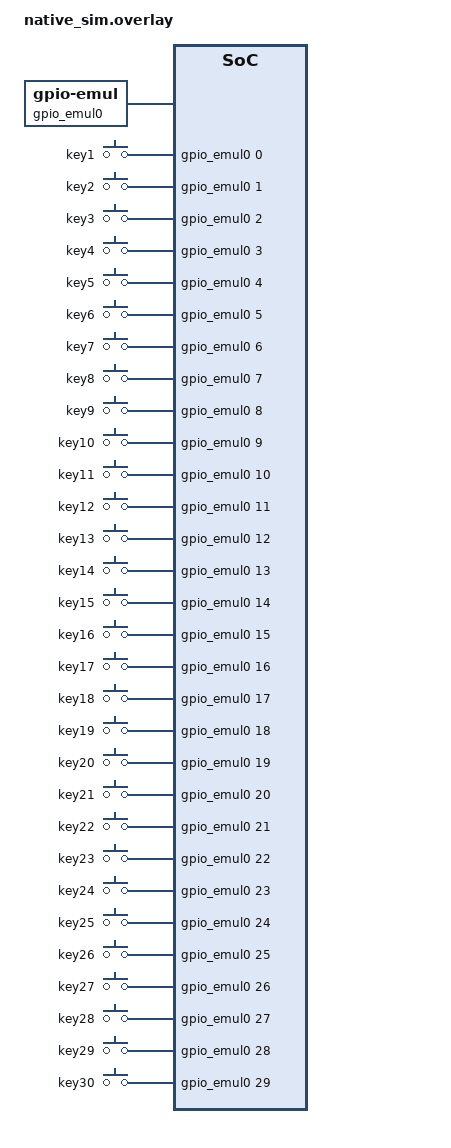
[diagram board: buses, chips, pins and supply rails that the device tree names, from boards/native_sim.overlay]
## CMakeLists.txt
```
# SPDX-License-Identifier: Apache-2.0

cmake_minimum_required(VERSION 3.20.0)
find_package(Zephyr REQUIRED HINTS $ENV{ZEPHYR_BASE})
project(digital_twin)
FILE(GLOB app_sources src/*.c)

target_sources(app PRIVATE ${app_sources})

target_include_directories(app PRIVATE ${CMAKE_CURRENT_SOURCE_DIR}/inc)
```

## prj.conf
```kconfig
CONFIG_LV_Z_MEM_POOL_SIZE=163840
CONFIG_LV_Z_SHELL=y
CONFIG_MAIN_STACK_SIZE=16384

CONFIG_GPIO=y
CONFIG_INPUT=y
CONFIG_LOG=y
CONFIG_SHELL=y

CONFIG_DISPLAY=y
CONFIG_EMUL=y
CONFIG_GPIO_EMUL=y
CONFIG_GPIO_EMUL_SDL=y
CONFIG_EMUL_LOG_LEVEL_DBG=y

# LVGL config
CONFIG_LVGL=y
CONFIG_LV_MEM_CUSTOM=y
CONFIG_LV_USE_LOG=y
CONFIG_LV_USE_LABEL=y
CONFIG_LV_USE_BTN=y
CONFIG_LV_USE_ARC=y
CONFIG_LV_USE_IMG=y
```

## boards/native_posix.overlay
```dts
/*
 * Copyright (c) 2022, Basalte bv
 *
 * SPDX-License-Identifier: Apache-2.0
 */

#include <zephyr/dt-bindings/input/input-event-codes.h>
#include <zephyr/dt-bindings/lvgl/lvgl.h>

/ {
	aliases {
		sw0 = &button0;
	};

	qdec {
		compatible = "gpio-qdec";
		gpios = <&gpio0 4 GPIO_ACTIVE_HIGH>, <&gpio0 5 GPIO_ACTIVE_HIGH>;
		steps-per-period = <4>;
		zephyr,axis = <INPUT_REL_WHEEL>;
		sample-time-us = <2000>;
		idle-timeout-ms = <200>;
	};

	keys: keys {
		compatible = "gpio-keys";
		button0: button0 {
			/* gpio0 pin 0 is already aliased to led0 */
			gpios = <&gpio0 1 GPIO_ACTIVE_HIGH>;
			zephyr,code = <INPUT_KEY_R>;
		};

		button1: button1 {
			gpios = <&gpio0 2 GPIO_ACTIVE_HIGH>;
			zephyr,code = <INPUT_KEY_B>;
		};

		encoder_button: encoder_button {
			gpios = <&gpio0 3 GPIO_ACTIVE_HIGH>;
			zephyr,code = <INPUT_KEY_0>;
		};

		button_left: button_left {
			gpios = <&gpio0 6 GPIO_ACTIVE_HIGH>;
			zephyr,code = <INPUT_KEY_LEFT>;
		};

		button_right: button_right {
			gpios = <&gpio0 7 GPIO_ACTIVE_HIGH>;
			zephyr,code = <INPUT_KEY_RIGHT>;
		};

		button_enter: button_enter {
			gpios = <&gpio0 8 GPIO_ACTIVE_HIGH>;
			zephyr,code = <INPUT_KEY_ENTER>;
		};
	};

	lvgl_button_input {
		compatible = "zephyr,lvgl-button-input";
		input = <&keys>;
		input-codes = <INPUT_KEY_B>;
		coordinates = <160 120>;
	};

	lvgl_encoder_input {
		compatible = "zephyr,lvgl-encoder-input";
		rotation-input-code = <INPUT_REL_WHEEL>;
		button-input-code = <INPUT_KEY_0>;
	};

	lvgl_keypad_input {
		compatible = "zephyr,lvgl-keypad-input";
		input = <&keys>;
		input-codes = <INPUT_KEY_LEFT INPUT_KEY_RIGHT INPUT_KEY_ENTER>;
		lvgl-codes = <LV_KEY_LEFT LV_KEY_RIGHT LV_KEY_ENTER>;
	};
};

&gpio0 {
	ngpios = <9>;

	sdl_gpio {
		status = "okay";
		compatible = "zephyr,gpio-emul-sdl";
		/* Skip pin 0 with the unknown code 0 */
		scancodes = <0 21 5 30 31 32 80 79 40>;
	};
};
```

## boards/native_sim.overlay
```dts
#include <zephyr/dt-bindings/input/input-event-codes.h>
#include <zephyr/dt-bindings/lvgl/lvgl.h>

/ {
	aliases {
		sw0 = &key1;
		sw1  = &key2;
		sw2  = &key3;
		sw3  = &key4;
		sw4  = &key5;
		sw5  = &key6;
		sw6  = &key7;
		sw7  = &key8;
		sw8  = &key9;
		sw9  = &key10;
		sw10 = &key11;
		sw11 = &key12;
		sw12 = &key13;
		sw13 = &key14;
		sw14 = &key15;
		sw15 = &key16;
		sw16 = &key17;
		sw17 = &key18;
		sw18 = &key19;
		sw19 = &key20;
		sw20 = &key21;
		sw21 = &key22;
		sw22 = &key23;
		sw23 = &key24;
		sw24 = &key25;
		sw25 = &key26;
		sw26 = &key27;
		sw27 = &key28;
		sw28 = &key29;
		sw29 = &key30;
	};

	//emulated gpio description
    gpio_emul0: gpio_emul_0 {
		status = "okay";
		compatible = "zephyr,gpio-emul";
		rising-edge;
		falling-edge;
		high-level;
		low-level;
		gpio-controller;
		ngpios = <30>; // Number of GPIO pins
		#gpio-cells = <2>;
	
	};
	
	keys: keys {
		compatible = "gpio-keys";
		//16 keys 4x4 matrix
		key1: key1 {
			gpios = <&gpio_emul0 0 GPIO_ACTIVE_HIGH>;
			zephyr,code = <INPUT_KEY_1>;
		};
		key2: key2 {
			gpios = <&gpio_emul0 1 GPIO_ACTIVE_HIGH>;
			zephyr,code = <INPUT_KEY_2>;
		};
		key3: key3 {
			gpios = <&gpio_emul0 2 GPIO_ACTIVE_HIGH>;
			zephyr,code = <INPUT_KEY_3>;
		};
		key4: key4 {
			gpios = <&gpio_emul0 3 GPIO_ACTIVE_HIGH>;
			zephyr,code = <INPUT_KEY_4>;
		};
		key5: key5 {
			gpios = <&gpio_emul0 4 GPIO_ACTIVE_HIGH>;
			zephyr,code = <INPUT_KEY_Q>;
		};
		key6: key6 {
			gpios = <&gpio_emul0 5 GPIO_ACTIVE_HIGH>;
			zephyr,code = <INPUT_KEY_W>;
		};
		key7: key7 {
			gpios = <&gpio_emul0 6 GPIO_ACTIVE_HIGH>;
			zephyr,code = <INPUT_KEY_E>;
		};
		key8: key8 {
			gpios = <&gpio_emul0 7 GPIO_ACTIVE_HIGH>;
			zephyr,code = <INPUT_KEY_R>;
		};
		key9: key9 {
			gpios = <&gpio_emul0 8 GPIO_ACTIVE_HIGH>;
			zephyr,code = <INPUT_KEY_A>;
		};
		key10: key10 {
			gpios = <&gpio_emul0 9 GPIO_ACTIVE_HIGH>;
			zephyr,code = <INPUT_KEY_S>;
		};
		key11: key11 {
			gpios = <&gpio_emul0 10 GPIO_ACTIVE_HIGH>;
			zephyr,code = <INPUT_KEY_D>;
		};
		key12: key12 {
			gpios = <&gpio_emul0 11 GPIO_ACTIVE_HIGH>;
			zephyr,code = <INPUT_KEY_F>;
		};
		key13: key13 {
			gpios = <&gpio_emul0 12 GPIO_ACTIVE_HIGH>;
			zephyr,code = <INPUT_KEY_Z>;
		};
		key14: key14 {
			gpios = <&gpio_emul0 13 GPIO_ACTIVE_HIGH>;
			zephyr,code = <INPUT_KEY_X>;
		};
		key15: key15 {
			gpios = <&gpio_emul0 14 GPIO_ACTIVE_HIGH>;
			zephyr,code = <INPUT_KEY_C>;
		};
		key16: key16 {
			gpios = <&gpio_emul0 15 GPIO_ACTIVE_HIGH>;
			zephyr,code = <INPUT_KEY_V>;
		};
		//3 ABC buttons
		key17: key17 {
			gpios = <&gpio_emul0 16 GPIO_ACTIVE_HIGH>;
			zephyr,code = <INPUT_KEY_5>;
		};
		key18: key18 {
			gpios = <&gpio_emul0 17 GPIO_ACTIVE_HIGH>;
			zephyr,code = <INPUT_KEY_6>;
		};
		key19: key19 {
			gpios = <&gpio_emul0 18 GPIO_ACTIVE_HIGH>;
			zephyr,code = <INPUT_KEY_7>;
		};
		// 10 for switches
		key20: key20 {
			gpios = <&gpio_emul0 19 GPIO_ACTIVE_HIGH>;
			zephyr,code = <INPUT_KEY_T>;
		};
		key21: key21 {
			gpios = <&gpio_emul0 20 GPIO_ACTIVE_HIGH>;
			zephyr,code = <INPUT_KEY_Y>;
		};
		key22: key22 {
			gpios = <&gpio_emul0 21 GPIO_ACTIVE_HIGH>;
			zephyr,code = <INPUT_KEY_U>;
		};
		key23: key23 {
			gpios = <&gpio_emul0 22 GPIO_ACTIVE_HIGH>;
			zephyr,code = <INPUT_KEY_I>;
		};
		key24: key24 {
			gpios = <&gpio_emul0 23 GPIO_ACTIVE_HIGH>;
			zephyr,code = <INPUT_KEY_O>;
		};
		key25: key25 {
        	gpios = <&gpio_emul0 24 GPIO_ACTIVE_HIGH>;
        	zephyr,code = <INPUT_KEY_G>;
		};
		key26: key26 {
			gpios = <&gpio_emul0 25 GPIO_ACTIVE_HIGH>;
			zephyr,code = <INPUT_KEY_H>;
		};
		key27: key27 {
			gpios = <&gpio_emul0 26 GPIO_ACTIVE_HIGH>;
			zephyr,code = <INPUT_KEY_J>;
		};
		key28: key28 {
			gpios = <&gpio_emul0 27 GPIO_ACTIVE_HIGH>;
			zephyr,code = <INPUT_KEY_K>;
		};
		key29: key29 {
			gpios = <&gpio_emul0 28 GPIO_ACTIVE_HIGH>;
			zephyr,code = <INPUT_KEY_L>;
		};
		key30: key30 {
			gpios = <&gpio_emul0 29 GPIO_ACTIVE_HIGH>;
			zephyr,code = <INPUT_KEY_0>;
		};
	};

	lvgl_button_input {
		compatible = "zephyr,lvgl-button-input";
		input = <&keys>;
		input-codes = <INPUT_KEY_1>;
		coordinates = <221 69>;
	};
};

&gpio_emul0 {
	ngpios = <30>;

	sdl_gpio {
		status = "okay";
		compatible = "zephyr,gpio-emul-sdl";
		scancodes = <30 31 32 33
					20 26 8 21
					4 22 7 9
					29 27 6 25
					34 35 36 
					23 28 24 12 18
					10 11 13 14 15
					39>;
	};
};

// Display
&sdl_dc {
    width = <520>;
    height = <520>;
};
```

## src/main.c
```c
/*
 * SPDX-License-Identifier: Apache-2.0
 */

#include <zephyr/device.h>
#include <zephyr/devicetree.h>
#include <zephyr/drivers/display.h>
#include <zephyr/drivers/gpio.h>
#include <lvgl.h>
#include <stdio.h>
#include <string.h>
#include <zephyr/kernel.h>
#include <lvgl_input_device.h>
#include "statemachine.h"
#include "threads.h"
#include "lvgl_ui.h"

#define LOG_LEVEL CONFIG_LOG_DEFAULT_LEVEL
#include <zephyr/logging/log.h>
LOG_MODULE_REGISTER(app);

// The stack size of all threads
#define STACKSIZE 1024

//LVGL stack
#define STACKSIZE2 16000

// Thread priority values (lower value is higher priority)
#define TMAIN_PRIORITY 9
#define TLVGL_PRIORITY 3

void lvgl_task_handler_loop() {
    while (1) {
		//k_cpu_idle();
        lv_task_handler();
		//for native_sim
        k_sleep(K_MSEC(1));
    }
}

int tmain() // Core thread
{
	const struct device *display_dev;
	display_dev = DEVICE_DT_GET(DT_CHOSEN(zephyr_display));
	if (!device_is_ready(display_dev)) {
		LOG_ERR("Device not ready, aborting test");
		return 0;
	}

	//lv_task_handler();
	display_blanking_off(display_dev);

	setup_ui(lv_scr_act());

	printf("Main\n");
	startStatemachine();

	return 0;
}

// Define the threads
K_THREAD_DEFINE(tmain_id, STACKSIZE, tmain, NULL, NULL, NULL, TMAIN_PRIORITY, 0, 0);

K_THREAD_DEFINE(tlvgl_id, STACKSIZE2, lvgl_task_handler_loop, NULL, NULL, NULL, TLVGL_PRIORITY, 0, 0);
```

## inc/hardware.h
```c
#ifndef HARDWARE_H
#define HARDWARE_H

#include <zephyr/drivers/gpio.h>
#include <stdio.h>
#include <zephyr/kernel.h>

#define LEDMATRIXLEDSINROW		16
#define LEDMATRIXROWS 			16
#define CIRCLEMATRIXLEDSINROW		8
#define CIRCLEMATRIXROWS 			8
#define BUTTONMATRIXLEDSINROW		4
#define BUTTONMATRIXROWS 			4

#ifndef HIGH
#define HIGH 1
#endif

#ifndef LOW
#define LOW 0
#endif

static const struct gpio_dt_spec abcbutton[3] = {
	GPIO_DT_SPEC_GET(DT_ALIAS(sw16), gpios),
	GPIO_DT_SPEC_GET(DT_ALIAS(sw17), gpios),
	GPIO_DT_SPEC_GET(DT_ALIAS(sw18), gpios),
};

static const struct gpio_dt_spec buttonsButtonMatrix[16] = {
	GPIO_DT_SPEC_GET(DT_ALIAS(sw0), gpios),
	GPIO_DT_SPEC_GET(DT_ALIAS(sw1), gpios),
	GPIO_DT_SPEC_GET(DT_ALIAS(sw2), gpios),
	GPIO_DT_SPEC_GET(DT_ALIAS(sw3), gpios),
	GPIO_DT_SPEC_GET(DT_ALIAS(sw4), gpios),
	GPIO_DT_SPEC_GET(DT_ALIAS(sw5), gpios),
	GPIO_DT_SPEC_GET(DT_ALIAS(sw6), gpios),
	GPIO_DT_SPEC_GET(DT_ALIAS(sw7), gpios),
	GPIO_DT_SPEC_GET(DT_ALIAS(sw8), gpios),
	GPIO_DT_SPEC_GET(DT_ALIAS(sw9), gpios),
	GPIO_DT_SPEC_GET(DT_ALIAS(sw10), gpios),
	GPIO_DT_SPEC_GET(DT_ALIAS(sw11), gpios),
	GPIO_DT_SPEC_GET(DT_ALIAS(sw12), gpios),
	GPIO_DT_SPEC_GET(DT_ALIAS(sw13), gpios),
	GPIO_DT_SPEC_GET(DT_ALIAS(sw14), gpios),
	GPIO_DT_SPEC_GET(DT_ALIAS(sw15), gpios)
};

static const struct gpio_dt_spec switchon[5] = {
	GPIO_DT_SPEC_GET(DT_ALIAS(sw19), gpios),
	GPIO_DT_SPEC_GET(DT_ALIAS(sw20), gpios),
	GPIO_DT_SPEC_GET(DT_ALIAS(sw21), gpios),
	GPIO_DT_SPEC_GET(DT_ALIAS(sw22), gpios),
	GPIO_DT_SPEC_GET(DT_ALIAS(sw23), gpios),
};

static const struct gpio_dt_spec switchoff[5] = {
	GPIO_DT_SPEC_GET(DT_ALIAS(sw24), gpios),
	GPIO_DT_SPEC_GET(DT_ALIAS(sw25), gpios),
	GPIO_DT_SPEC_GET(DT_ALIAS(sw26), gpios),
	GPIO_DT_SPEC_GET(DT_ALIAS(sw27), gpios),
	GPIO_DT_SPEC_GET(DT_ALIAS(sw28), gpios),
};

static const struct gpio_dt_spec startbutton	= GPIO_DT_SPEC_GET(DT_ALIAS(sw29), gpios);

uint8_t abcbuttonsInit();
bool buttons4x4Config();
uint8_t buttons4x4Init();
uint8_t switchesInit();

uint8_t lcdStringWrite(char *msg);
uint8_t lcdEnable();
uint8_t lcdDisable();
uint8_t lcdClear();

uint8_t abcbuttonsGet(char selectedbtn);
uint8_t buttons4x4Get(uint8_t selectedbtn);
uint8_t buttons4x4GetLVGL(uint8_t selectedbtn);
uint8_t switchesGet(uint8_t selectedswitch);
uint8_t startbuttonGet();

uint8_t abcledsSet(char selectedled,bool value);
uint8_t buttonMatrixSet(uint8_t data[BUTTONMATRIXROWS]);
uint8_t circleMatrixSet(uint8_t data[8]);
int8_t ledMatrixSet(int16_t data[16]);
uint8_t sevenSegmentSet(char input[4],uint8_t dpPosition);
uint8_t startledSet(bool value);

#endif // HARDWARE_H
```

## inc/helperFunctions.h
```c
#ifndef HELPERFUNCTIONS_H
#define HELPERFUNCTIONS_H

#include <zephyr/kernel.h>
#include <zephyr/logging/log.h>
#include <zephyr/sys/util.h>
#include "hardware.h"
#include "threads.h"
#if defined(CONFIG_TEST_RNG_INPUT)
#include <zephyr/random/random.h>
#endif

#ifdef CONFIG_ARCH_POSIX
#define native_loop() k_sleep(K_MSEC(1))
#else
#define native_loop()
#endif

void btnmatrix_in_to_out(uint8_t* btnmatrix_input, uint8_t* btnmatrix_output);
void btnmatrix_to_ledmatrix(uint8_t* btnmatrix_shape, uint16_t* ledmatrix_shape);
void clear_btnmatrix_leds();
void show_correct();
void show_incorrect();
void show_oneliners(char input_array[][32], int lines);
void show_mg_score(int score);
void wait_till_abc_depressed();
void wait_till_btnmatrix_depressed();
void wait_till_switches_rest();
void get_abc_input(uint16_t input_time, uint8_t* input_array, size_t size);
void get_btnmatrix_input(uint16_t input_time, uint8_t* input_array, size_t size);
uint8_t get_btnmatrix_input_number(uint16_t input_time);
uint8_t get_btnmatrix_input_number_untimed();
void set_btnmatrix_led(uint8_t position);

void set_led_circle_dir_dist(int dir, int distance);
int get_relative_dir(int dir);
#endif //HELPERFUNCTIONS_H
```

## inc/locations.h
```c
// Example of how to define locatoins (use latitude and longitude in units of nanodegrees)
#define NR_OF_LOCS 3
#define LAT_LOC_A 51689194440	// Den Bosch: paadje langs slagboom bij de parkeerplaats onder Avans (paadje aan gebouwkant)
#define LON_LOC_A 5286555560
#define LAT_LOC_B 51688527780	// Den Bosch: grasveld achter het gebouw, vanuit de kleine heuveltjes verder naar achter bij het kleine boompje dat midden in het veld alleen staat
#define LON_LOC_B 5285222220
#define LAT_LOC_C 51687388890	// Den Bosch: bij de ingang voor vrachtwagen / bezorgers, lopen twee wegen parallel, waar die samenkomen loopt een struik in een halve cirkel, dit punt is in het midden van de halve cirkel
#define LON_LOC_C 5285527780

#define LAT_VNR 51536111110
#define LON_VNR 5979444440
#define LAT_DB 51687593000
#define LON_DB 5286511000
```

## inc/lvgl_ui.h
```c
#include <zephyr/device.h>
#include <zephyr/devicetree.h>
#include <zephyr/drivers/display.h>
#include <zephyr/drivers/gpio.h>
#include <lvgl.h>
#include <stdio.h>
#include <string.h>
#include <zephyr/kernel.h>
#include <lvgl_input_device.h>
#include <math.h>

void set_abc_button(int button, bool value);
void set_start_button(bool value);
void set_button(int button, int state);
void set_lcd_display(char *msg);
void set_led(int led, int state);
void set_led_circle(int led, int state);
void set_segmented_display(char input[4],uint8_t dpPosition);

uint8_t get_button_state(uint8_t selectedbtn);
uint8_t get_button_abc_state(char selectedbtn);
uint8_t get_button_start();
uint8_t get_switch(uint8_t selectedswitch);
/* Setup UI*/
void setup_ui(lv_obj_t * parent);
```

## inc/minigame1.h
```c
#ifndef MINIGAME1_H
#define MINIGAME1_H

#include <zephyr/kernel.h>
#include <stdio.h>
#include <zephyr/random/random.h>
#include <string.h>
#include <zephyr/logging/log.h>
#include "threads.h"
#include "hardware.h"
#include "helperFunctions.h"

#define mg1ThreadCount 3

void getMg1Threads(char ***, unsigned *);

int playMg1();

#endif // MINIGAME1_H
```

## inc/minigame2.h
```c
#ifndef MINIGAME2_H
#define MINIGAME2_H

#define DEBUG_MODE
#ifdef DEBUG_MODE
#define printf_minigame2 printf
#else
#define printf_minigame2(...)
#endif //DEBUG_MODE

#include <zephyr/kernel.h>
#include <stdio.h>
#include "threads.h"
#include "helperFunctions.h"
#include <zephyr/random/random.h>

#define mg2ThreadCount 3

void getMg2Threads(char ***, unsigned *);

int playMg2();

#endif // MINIGAME2_H
```

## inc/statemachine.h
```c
//#include "configure.h"
//#include "initialize.h"

void startStatemachine();
```

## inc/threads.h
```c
#ifndef THREADS_H
#define THREADS_H

#include <zephyr/kernel.h>

extern uint32_t Startupdelay;

// Total number of threads
#define THREAD_AMOUNT 10

#define printf(...)

// The stack size of all threads
#define STACKSIZE 1024

// Thread priority values (lower value is higher priority)
#define TSTARTBUTTON_PRIORITY 7
#define TGYRO_PRIORITY 7
#define TBTNMATRIX_OUT_PRIORITY 4
#define TBTNMATRIX_IN_PRIORITY 7
#define TSWITCHES_PRIORITY 7
#define TPOTMETER_PRIORITY 7
#define TBUZZERS_PRIORITY 4
#define TLEDMATRIX_PRIORITY 4
#define TLEDCIRCLE_PRIORITY 4
#define TSEVENSEG_PRIORITY 4
#define TABCBTN_PRIORITY 7

// Thread IDs
extern const k_tid_t tstartbutton_id;
extern const k_tid_t tgyro_id;
extern const k_tid_t tbtnmatrix_out_id;
extern const k_tid_t tbtnmatrix_in_id;
extern const k_tid_t tswitches_id;
extern const k_tid_t tpotmeter_id;
extern const k_tid_t tbuzzers_id;
extern const k_tid_t tledmatrix_id;
extern const k_tid_t tledcircle_id;
extern const k_tid_t tsevenseg_id;
extern const k_tid_t tabcbtn_id;

// Define the thread functions
// Input thread functions
void tstartbutton(void);
void tgyro(void);
void tbtnmatrix_in(void);
void tswitches(void);
void tpotmeter(void);
void tabcbtn(void);
// Output thread functions
void tbtnmatrix_out(void);
void tbuzzers(void);
void tledmatrix(void);
void tledcircle(void);
void tsevenseg(void);

// Functions for enabling and disabling threads
void enableThreads(char **, unsigned);
void disableThreads(char **, unsigned);
void setThread(char *, bool);

void disableAllThreads();

//mutex protect functions
uint8_t startbuttonGetMutexValue();
uint8_t* btnmatrix_inGetMutexValue();
uint8_t* switchesGetMutexValue();
int32_t potmeterGetMutexValue();
uint8_t* abcbtnGetMutexValue();
void btnmatrix_outSetMutexValue(uint8_t data[4]);
void buzzersSetMutexValue(uint8_t data[3]);
void ledmatrixSetMutexValue(uint16_t data[16]);
void ledcircleSetMutexValue(uint8_t data[8]);
void sevensegSetMutexValue(char input[4],uint8_t dpPosition);


#endif //THREADS_H
```

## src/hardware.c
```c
#include "hardware.h"
#include "lvgl_ui.h"
/** 
 * @brief Configures the buttonsinsmallmatrix.
 * 
 * Checks if the GPIO is available and configures the GPIO for its purpose
 * 
 * @return Returns a 0 on succes and a 1 on error.
 */ 
bool buttons4x4Config()
{
	//check if gpio is available
	uint8_t ret = 0;
	uint8_t amount = 16;
	for (uint8_t i = 0; i < amount; i++)
	{
		ret += gpio_is_ready_dt(&buttonsButtonMatrix[i]);
	}
	if(ret != amount)
	{
		return 1;
	}
	return 0;
}

/** 
 * @brief Initializes the buttonsinsmallmatrix
 * 
 * Sets all pins from floating to 1
 * 
 * @return Returns a 0 on succes and a 1 on error.
 */ 
uint8_t buttons4x4Init()
{
	uint8_t ret = 0;
	uint8_t amount = 16;
	for (uint8_t i = 0; i < amount; i++)
	{
		ret += gpio_pin_configure_dt(&buttonsButtonMatrix[i],GPIO_INPUT);
	}
	if (ret != 0) {
		return 1;
	}
	return 0;
}

uint8_t abcbuttonsInit()
{
	//check if gpio is available
	uint8_t ret = 0;
	uint8_t amount = 3;
	for (uint8_t i = 0; i < amount; i++)
	{
		ret += gpio_is_ready_dt(&abcbutton[i]);
	}
	if(ret != amount)
	{
		return 1;
	}

	for (uint8_t j = 0; j < amount; j++)
	{
		ret += gpio_pin_configure_dt(&abcbutton[j],GPIO_INPUT);
	}
	if (ret != 0) 
	{
		return 1;
	}

	return 0;
}

uint8_t switchesInit(){
	uint8_t ret = 0;
	uint8_t amount = 5;
	//check if gpio is available
	for (uint8_t i = 0; i < amount; i++)
	{
		ret += gpio_is_ready_dt(&switchon[i]);
	}
	for (uint8_t i = 0; i < amount; i++)
	{
		ret += gpio_is_ready_dt(&switchoff[i]);
	}
	if(ret != (amount*2))
	{
		return 1;
	}

	for (uint8_t i = 0; i < amount; i++)
	{
		ret += gpio_pin_configure_dt(&switchon[i],GPIO_INPUT);
	}
	for (uint8_t i = 0; i < amount; i++)
	{
		ret += gpio_pin_configure_dt(&switchoff[i],GPIO_INPUT);
	}
	if (ret != 0) {
		return 1;
	}

	return 0;
}
// Get functions

uint8_t abcbuttonsGet(char selectedbtn)
{	
    uint8_t lvgl_state = 2;

	switch (selectedbtn)
	{
	case 'a':
		lvgl_state = get_button_abc_state(selectedbtn);
        if(lvgl_state == 1){
            return 1;
        }
		return gpio_pin_get(abcbutton[0].port, abcbutton[0].pin);
		break;
	case 'b':
		lvgl_state = get_button_abc_state(selectedbtn);
        if(lvgl_state == 1){
            return 1;
        }
		return gpio_pin_get(abcbutton[1].port, abcbutton[1].pin);
		break;
	case 'c':
		lvgl_state = get_button_abc_state(selectedbtn);
        if(lvgl_state == 1){
            return 1;
        }
		return gpio_pin_get(abcbutton[2].port, abcbutton[2].pin);
		break;
	default:
		return 2;
		break;
	}
}

/** 
 * @brief reads value from buttons in small matrix
 * 
 * per button the value can be read using this function
 * 
 * @param[in] selectedbtn – select which button value is returned
 * 
 * @return Returns 0 when the button is pressed
 * Returns a 1 if the button is not pressed
 * Returns a 2 when trying to access a button that does not exist
 */ 
uint8_t buttons4x4Get(uint8_t selectedbtn)
{	
    uint8_t lvgl_state = 2;
	if(selectedbtn < 16 && selectedbtn >= 0)
	{
        lvgl_state = get_button_state(selectedbtn);
        if(lvgl_state == 1){
            return 1;
        }
		return gpio_pin_get(buttonsButtonMatrix[selectedbtn].port, buttonsButtonMatrix[selectedbtn].pin);
	}
	else
	{
		return 2;
	}
	
}

/** 
 * @brief reads value from (LVGL)buttons in small matrix
 * 
 * per button the value can be read using this function
 * 
 * @param[in] selectedbtn – select which button value is returned
 * 
 * @return Returns 0 when the (LVGL)button is pressed
 * Returns a 1 if the (LVGL)button is not pressed
 * Returns a 2 when trying to access a button that does not exist
 */ 
uint8_t buttons4x4GetLVGL(uint8_t selectedbtn)
{	
    uint8_t lvgl_state = 2;
	if(selectedbtn < 16 && selectedbtn >= 0)
	{
        lvgl_state = get_button_state(selectedbtn);
		printk("Button %d state: %d", selectedbtn, lvgl_state);
        if(lvgl_state == 1){
            return 1;
        }
		return gpio_pin_get(buttonsButtonMatrix[selectedbtn].port, buttonsButtonMatrix[selectedbtn].pin);
	}
	else
	{
		return 2;
	}
	
}
/*
 * @return Returns 0 when the switch is in the on state
 * Returns a 1 when the switch is in the off state
 * Returns a 2 when the switch is in the middle state
 */ 
uint8_t switchesGet(uint8_t selectedswitch)
{
	uint8_t lvgl_state = 2;
	bool switchonState = false,switchoffState = false;
	switchonState = gpio_pin_get(switchon[selectedswitch].port, switchon[selectedswitch].pin);
	switchoffState = gpio_pin_get(switchoff[selectedswitch].port, switchoff[selectedswitch].pin);

	lvgl_state = get_switch(selectedswitch);
    if(lvgl_state == 1){
        return 1;
    }

	if(!switchonState)
	{
		return 0;		
	}
	else if(!switchoffState)
	{
		return 1;
	}
	else
	{
		return 2;
	}
}

uint8_t startbuttonGet()
{	
	uint8_t lvgl_state = 2;
	lvgl_state = get_button_start();
    if(lvgl_state == 1){
        return 1;
    }
	return gpio_pin_get(startbutton.port, startbutton.pin);
}

// Set functions
uint8_t abcledsSet(char selectedled,bool value)
{
	switch (selectedled)
	{
	case 'a':
		set_abc_button(0,value);
		return 0;
		break;
	case 'b':
		set_abc_button(1,value);
		return 0;
		break;
	case 'c':
		set_abc_button(2,value);
		return 0;
		break;
	default:
		return 1;
		break;
	}
}

uint8_t buttonMatrixSet(uint8_t data[BUTTONMATRIXROWS])
{
	for (size_t row = 0; row < BUTTONMATRIXROWS; row++)
	{
		for (size_t led = 0; led < BUTTONMATRIXLEDSINROW; led++)
		{
			int index = row * BUTTONMATRIXLEDSINROW + led;
			if(data[row] & 0x1<<led)
			{
				set_button((index), 1);
			}
			else
			{
				set_button((index), 0);
			}
		}
		//TODO: determine this k_sleep delay
		k_sleep(K_USEC(4000));
	}
	return 0;
}

uint8_t circleMatrixSet(uint8_t data[CIRCLEMATRIXROWS])
{
	for (size_t row = 0; row < CIRCLEMATRIXROWS; row++)
	{
		for (size_t led = 0; led < CIRCLEMATRIXLEDSINROW; led++)
		{
			int index = row * CIRCLEMATRIXLEDSINROW + led;
			if(data[row] & 0x1<<led)
			{
				set_led_circle((index), 1);
			}
			else
			{
				set_led_circle((index), 0);
			}
		}

		//TODO: determine this k_sleep delay
		k_sleep(K_USEC(2000));
	}
	return 0;
}

int8_t ledMatrixSet(int16_t data[LEDMATRIXROWS])
{
	for (size_t row = 0; row < LEDMATRIXROWS; row++)
	{
		for (size_t led = 0; led < LEDMATRIXLEDSINROW; led++)
		{
			int index = row * LEDMATRIXLEDSINROW + led;
			if(data[row] & 0x1<<led)
			{
				set_led((index), 1);
			}
			else
			{
				set_led((index), 0);
			}
		}
	}
	return 0;
}

uint8_t sevenSegmentSet(char input[4],uint8_t dpPosition)
{
	set_segmented_display(input, dpPosition);
	//needs to be determined
	k_msleep(4);

	return 0;
}

uint8_t startledSet(bool value)
{
	set_start_button(value);
	return 0;
}

uint8_t lcdStringWrite(char *msg)
{
	set_lcd_display(msg);

	return 0;
}

uint8_t lcdEnable(){
	return 0;
}

uint8_t lcdDisable(){
	return 0;
}

uint8_t lcdClear(){
	return 0;
}
```

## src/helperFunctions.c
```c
#include "helperFunctions.h"

LOG_MODULE_REGISTER(helperFunctions);
K_TIMER_DEFINE(timer, NULL, NULL);

//Convert btnmatrix input to btnmatrix output format
void btnmatrix_in_to_out(uint8_t* btnmatrix_input, uint8_t* btnmatrix_output){
	for (uint8_t i = 0; i < 16; i++) {
        if (!btnmatrix_input[i]) {
            uint8_t row = i / 4;
#ifdef CONFIG_ARCH_POSIX
            uint8_t column = i % 4;
#else
            uint8_t column = 3 - (i % 4);
#endif
            btnmatrix_output[row] |= (1 << column);
        }
    }
}

//Convert btnmatrix output to ledmatrix format
void btnmatrix_to_ledmatrix(uint8_t* btnmatrix_shape, uint16_t* ledmatrix_shape){

	for (int row = 0; row < 4; row++) {
        uint16_t ledmatrix_row = 0;

        for (int bit = 0; bit < 4; bit++) {
            if (btnmatrix_shape[row] & (1 << bit)) {
                ledmatrix_row |= (0b1111 << (bit * 4));
            }
        }

        ledmatrix_shape[row * 4] = ledmatrix_row;
        ledmatrix_shape[row * 4 + 1] = ledmatrix_row;
        ledmatrix_shape[row * 4 + 2] = ledmatrix_row;
        ledmatrix_shape[row * 4 + 3] = ledmatrix_row;
    }
}

//clears the btnmatrix led matrix
void clear_btnmatrix_leds(){
	uint8_t data_button_matrix[4] = {0};
	btnmatrix_outSetMutexValue(data_button_matrix);
}

//function to show a circle on the button matrix for 2 seconds
void show_correct(){
	uint8_t data_button_matrix[4] = {0b00000110, 0b00001001, 0b00001001, 0b00000110};
	btnmatrix_outSetMutexValue(data_button_matrix);
	k_msleep(2000);
	clear_btnmatrix_leds();
}

//function to show a cross on the button matrix  for 2 seconds
void show_incorrect(){
	uint8_t data_button_matrix[4] = {0b00001001, 0b00000110, 0b00000110, 0b00001001};
	btnmatrix_outSetMutexValue(data_button_matrix);
	k_msleep(2000);
	clear_btnmatrix_leds();
}

void show_oneliners(char input_array[][32], int lines)
{
	lcdEnable();

	for (uint8_t i = 0; i < lines; i++){
		lcdStringWrite(input_array[i]);
		k_msleep(3000);
	}

	lcdClear();
	lcdDisable();
}

void show_mg_score(int score){
	char lcd_msg[32];

	lcdEnable();
	sprintf(lcd_msg, "Minigame score: %d", score);

	lcdStringWrite(lcd_msg);
	k_msleep(3000);
}

//Function to wait untill every abc button has been released
void wait_till_abc_depressed(){
#if defined(CONFIG_TEST_RNG_INPUT)
	return;
#endif
    uint8_t input_count = 1;
    uint8_t *abcbtns;
    LOG_WRN("Waiting\n");

    while(input_count != 0){
        abcbtns = abcbtnGetMutexValue();
        input_count = 0;

        for (int i = 0; i < 3; i++){
			if (abcbtns[i] == 0){
				input_count++;
			}
		}
		native_loop();
    }

    LOG_WRN("Done waiting\n");
}

//Function to wait untill every 4x4 button has been released
void wait_till_btnmatrix_depressed(){
    uint8_t input_count = 1;
    uint8_t *btnmatrix;
    LOG_WRN("Waiting\n");

    while(input_count != 0){
        btnmatrix = btnmatrix_inGetMutexValue();
        input_count = 0;

        for (int i = 0; i < 16; i++){
			if (btnmatrix[i] == 0){
				input_count++;
			}
		}
		native_loop();
    }

    LOG_WRN("Done waiting\n");
}

//Function to wait untill every switch is at rest
void wait_till_switches_rest(){
    uint8_t input_count = 1;
    uint8_t *switches;
    LOG_WRN("Waiting\n");

    while(input_count != 0){
        switches = switchesGetMutexValue();
        input_count = 0;

        for (int i = 0; i < 5; i++){
			if (switches[i] == 1){
				input_count++;
			}
		}
		native_loop();
    }

    LOG_WRN("Done waiting\n");
}

//Get functions
//wait till the input time has been reached or one abc button has been pressed
void get_abc_input(uint16_t input_time, uint8_t* input_array, size_t size){
#if defined(CONFIG_TEST_RNG_INPUT)
	for (int i = 0; i < 3; i++){
		input_array[i] =  sys_rand32_get() % 2;
	}
#else
	uint8_t input_count = 0;

	k_timer_start(&timer, K_MSEC(input_time), K_NO_WAIT);
	LOG_WRN("5 sec wait\n");
	while ((!(k_timer_status_get(&timer) > 0)) && (input_count == 0)){
		memcpy(input_array, abcbtnGetMutexValue(), size);
		for (int i = 0; i < 3; i++){
			if (input_array[i] == 0){
				input_count++;
			}
		}
		native_loop();
	}
	LOG_WRN("Done waiting\n");
#endif
}

//wait till the input time has been reached or one btnmatrix button has been pressed
void get_btnmatrix_input(uint16_t input_time, uint8_t* input_array, size_t size){
	uint8_t input_count = 0;

	k_timer_start(&timer, K_MSEC(input_time), K_NO_WAIT);
	LOG_WRN("5 sec wait\n");
	while ((!(k_timer_status_get(&timer) > 0)) && (input_count == 0)){
		memcpy(input_array, btnmatrix_inGetMutexValue(), size);
		for (int i = 0; i < 16; i++){
			if (input_array[i] == 0){
				input_count++;
			}
		}
		native_loop();
	}
	LOG_WRN("Done waiting\n");
}

//Returns the pressed button, or 17 upon failure
uint8_t get_btnmatrix_input_number(uint16_t input_time){
    uint8_t input_array[16] = {1};
    k_timer_start(&timer, K_MSEC(input_time), K_NO_WAIT);

    while ((!(k_timer_status_get(&timer) > 0))){
        memcpy(input_array, btnmatrix_inGetMutexValue(), sizeof(input_array));
		for (int i = 0; i < 16; i++){
			if (input_array[i] == 0){
				return i;
			}
		}
		native_loop();
	}
	return 17;
}

//Returns the pressed button, or 17 upon failure
uint8_t get_btnmatrix_input_number_untimed(){
	uint8_t input = 0;
    uint8_t input_array[16];

    while (input == 0){
        memcpy(input_array, btnmatrix_inGetMutexValue(), sizeof(input_array));
		for (int i = 0; i < 16; i++){
			if (input_array[i] == 0){
				input = 1;
				return i;
			}
		}
		native_loop();
	}
	return 17;
}

//Set functions

//Set one led in the btnmatrix led matrix
void set_btnmatrix_led(uint8_t position){
	uint8_t data_button_matrix[4] = {0};

	uint8_t row = position / 4;
#ifdef CONFIG_ARCH_POSIX
	uint8_t column = position % 4;
#else
	uint8_t column = 3 - (position % 4);
#endif

	data_button_matrix[row] |= (1 << column);

	btnmatrix_outSetMutexValue(data_button_matrix);
}
```

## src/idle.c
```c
#include "idle.h"
#include "hardware.h"
#include "threads.h"
#include <zephyr/kernel.h>
#include <stdio.h>

#define REQUIRED_DIST_METERS 20
#define ANGLE_BUFFER_SIZE 10
#define GAMES_AMOUNT 3
#define DIST_MAX_WIDTH 20	// Distance at which the circle has minimum width
#define DIST_MIN_WIDTH 100 // Was 1000	//Distance at which the circle has maximum width
#define DIST_RANGE (DIST_MIN_WIDTH - DIST_MAX_WIDTH)
#define LEDS_MIN_WIDTH 7	// Amount of LEDS at DIST_MIN_WIDTH
#define LEDS_MAX_WIDTH 32	// Amount of LEDS at DIST_MAX_WIDTH
#define LEDS_RANGE_WIDTH (LEDS_MAX_WIDTH - LEDS_MIN_WIDTH)

unsigned idleThreadCount = 1;
char *idleThreads[1] = {"ledcircle"};
double angleSinBuffer[ANGLE_BUFFER_SIZE];
double angleCosBuffer[ANGLE_BUFFER_SIZE];

void getIdleThreads(char ***names, unsigned *amount) {
	*names = idleThreads;
	*amount = idleThreadCount;
}

int playIdle() {
	/******/
	printk("Entered idle");
	static int locIndex = 0;
	//locIndex = rand() % GAMES_AMOUNT;
	static bool completedGames[GAMES_AMOUNT] = {false, false, false};
	while (completedGames[locIndex] == true) {
		locIndex++;
	}
	if (locIndex > 2) { return -1; }

	// // Check if all games have been completed
	// for (int i = 0; i < GAMES_AMOUNT; i++) {
	// 	if (completedGames[GAMES_AMOUNT] == false) {
	// 		break;
	// 	}
	// 	printf("All games completed\n");
	// 	return -1;
	// }

	// while (completedGames[locIndex] == true) {
	// 	locIndex = rand() % 10;	// Keep getting random index until a game which has not been done yet is found
	// }

	int distMeters = 100;	// Initialize to a value outside the expected range
	int dir = 0;			// Direction the user must head in
/* 	lcdEnable();
	bool lcdSet = false;
	while(distMeters > REQUIRED_DIST_METERS) {	// Device is too far away from next target
		int64_t currLat = getLatitude();		// Get the current latitude
		int64_t currLon = getLongitude();		// Get the current longitude
		if ( currLat == 0 && currLon == 0) {	// GPS doesn't have lock
			//printf("GPS does not have a lock!\n");
			lcdStringWrite("GPS heeft geen  fix..");
			k_msleep(500);
			lcdStringWrite("GPS heeft geen  fix...");
			k_msleep(500);
			continue;
		} else if (!lcdSet) {
			lcdStringWrite("Volg de LEDs!");
			lcdSet = true;
		}
		distMeters = getDistanceMeters(nanoDegToLdDeg(currLon), nanoDegToLdDeg(currLat), nanoDegToLdDeg(lons[locIndex]), nanoDegToLdDeg(lats[locIndex])); // Distance from current position to next location (meters)
		dir = getAngle(nanoDegToLdDeg(currLat), nanoDegToLdDeg(currLon), nanoDegToLdDeg(lats[locIndex]), nanoDegToLdDeg(lons[locIndex]));					// Angle between current location and next location
		//printf("dir: %d\n", dir);
		int compassDir;
		gyroCompass_get_heading(&compassDir);	// Angle of device */
		
		//char banana[25];
		//char distValue[3];
		//strcpy(banana, "Distance: ");
		//sprintf(distValue, "%d", distMeters);
		//strcat(banana,distValue);
		//strcat(banana, " angle: ");
		//char rotationValue[3];
		//sprintf(rotationValue, "%d", compassDir);
		//strcat(banana, rotationValue);

/* 		compassDir = circleMovingAvg(compassDir);
		
		dir = dir - compassDir;					// Add to get the direction compared to the device
		if (dir < 0 ) {
			dir += 360;
		} else if (dir >= 360) {
			dir -= 360;
		}

		int ledWidth = getLedWidth(distMeters);

		setLedCircleDirWidth(dir, ledWidth);			// Point the user in the correct direction
		if (distMeters < 20) {
			break;
		}
		k_msleep(1);
	} */
	//lcdStringWrite("Gearriveerd!!");
	k_msleep(4000);
	completedGames[locIndex] = true;
	printk("left idle");
	return ((locIndex+1)*2)-1;
	//}
}
```

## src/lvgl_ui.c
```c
#include "../inc/lvgl_ui.h"

#include <zephyr/logging/log.h>
LOG_MODULE_DECLARE(app, CONFIG_LOG_DEFAULT_LEVEL);

#define MAIN_WIDTH 520
#define MAIN_HEIGHT 520

lv_obj_t *buttons[15];
lv_obj_t *buttons_abc[3];
lv_obj_t *button_start;
lv_obj_t *leds[256];
lv_obj_t *leds_circle[64];
lv_obj_t *lcd_display_label;
lv_obj_t *segmented_display_label;
lv_obj_t *switches[5];

// Set functions
void set_abc_button(int button, bool value){
    if(value == 1){
        lv_obj_set_style_bg_color(buttons_abc[button], lv_color_hex(0x00FFFF), 0);
    }
    else if(value == 0){
        lv_obj_set_style_bg_color(buttons_abc[button], lv_color_hex(0xFFFFFF), 0);
    }
    else{
        printk("set_abc_button received an improper state");
    }
}

void set_start_button(bool value){
    if(value == 1){
        lv_obj_set_style_bg_color(button_start, lv_color_hex(0x00FFFF), 0);
    }
    else if(value == 0){
        lv_obj_set_style_bg_color(button_start, lv_color_hex(0xFFFFFF), 0);
    }
    else{
        printk("set_start_button received an improper state");
    }
}


void set_button(int button, int state){
    if(state == 1){
        lv_obj_set_style_bg_color(buttons[button], lv_color_hex(0x00FFFF), 0);
    }
    else if(state == 0){
        lv_obj_set_style_bg_color(buttons[button], lv_color_hex(0xFFFFFF), 0);
    }
    else{
        printk("set_button received an improper state");
    }
}

void set_lcd_display(char *msg){
    lv_label_set_text(lcd_display_label, msg);
}

void set_led(int led, int state){
    if(state == 1){
        lv_obj_set_style_bg_color(leds[led], lv_color_hex(0x00FFFF), 0);
    }
    else if(state == 0){
        lv_obj_set_style_bg_color(leds[led], lv_color_hex(0x000000), 0);
    }
    else{
        printk("set_led received an improper state");
    }
}

void set_led_circle(int led, int state){
    if(state == 1){
        lv_obj_set_style_bg_color(leds_circle[led], lv_color_hex(0x00FFFF), 0);
    }
    else if(state == 0){
        lv_obj_set_style_bg_color(leds_circle[led], lv_color_hex(0x000000), 0);
    }
    else{
        printk("set_led_circle received an improper state");
    }
}

void set_segmented_display(char input[4],uint8_t dpPosition){
    lv_label_set_text(segmented_display_label, input);
}

static void button_cb(lv_event_t * e)
{
    /*The original target of the event. Can be the buttons or the container*/
    lv_obj_t * target = lv_event_get_target(e);

    /*The current target is always the container as the event is added to it*/
    lv_obj_t * cont = lv_event_get_current_target(e);

    /*If container was clicked do nothing*/
    if(target == cont) return;

    /*Toggle the button state*/
    if(lv_obj_has_state(target, LV_STATE_USER_1)) {
        lv_obj_clear_state(target, LV_STATE_USER_1);
        lv_obj_set_style_bg_grad_color(target, lv_color_hex(0xFFFFFF), 0);
    } else {
        lv_obj_add_state(target, LV_STATE_USER_1);
        lv_obj_set_style_bg_grad_color(target, lv_color_hex(0xFF0000), 0);
    }
}

// Get functions
uint8_t get_button_state(uint8_t selectedbtn){
    if(lv_obj_get_state(buttons[selectedbtn]) & LV_STATE_USER_1){
        return 0;
    }
    else{
        return 1;
    }
}

uint8_t get_button_abc_state(char selectedbtn)
{
    switch (selectedbtn)
    {
    case 'a':
        if (lv_obj_get_state(buttons_abc[0]) & LV_STATE_USER_1)
        {
            return 0;
        }
        else
        {
            return 1;
        }
        break;
    case 'b':
        if (lv_obj_get_state(buttons_abc[1]) & LV_STATE_USER_1)
        {
            return 0;
        }
        else
        {
            return 1;
        }
        break;
    case 'c':
        if (lv_obj_get_state(buttons_abc[2]) & LV_STATE_USER_1)
        {
            return 0;
        }
        else
        {
            return 1;
        }
        break;
    default:
        return 2;
        break;
    }
}

uint8_t get_button_start(){
    if(lv_obj_get_state(button_start) & LV_STATE_USER_1){
        return 0;
    }
    else{
        return 1;
    }
}

uint8_t get_switch(uint8_t selectedswitch){
    if(lv_obj_get_state(switches[selectedswitch]) & LV_STATE_USER_1){
        return 0;
    }
    else{
        return 1;
    }
}

//Setup functions

void setup_cont_butons_abc(lv_obj_t *parent){
    static lv_coord_t col_dsc[] = {LV_GRID_FR(1), LV_GRID_FR(1), LV_GRID_FR(1), LV_GRID_TEMPLATE_LAST};
    static lv_coord_t row_dsc[] = {LV_GRID_FR(1), LV_GRID_TEMPLATE_LAST};
    lv_obj_t *cont = lv_obj_create(parent);
    lv_obj_set_size(cont, LV_PCT(100), LV_PCT(100));
    lv_obj_set_grid_dsc_array(cont, col_dsc, row_dsc);
    lv_obj_set_layout(cont, LV_LAYOUT_GRID);
    lv_obj_set_style_bg_opa(parent, LV_OPA_TRANSP, 0);
    lv_obj_set_style_bg_opa(cont, LV_OPA_TRANSP, 0);
    lv_obj_center(cont);

    lv_obj_set_style_pad_all(parent, 0, 0);

    for(int i = 0; i < 3; i++){
        buttons_abc[i] = lv_btn_create(cont);
        lv_obj_set_grid_cell(buttons_abc[i], LV_GRID_ALIGN_STRETCH, i, 1, LV_GRID_ALIGN_STRETCH, 0, 1);
        lv_obj_set_style_bg_color(buttons_abc[i], lv_color_hex(0xFFFFFF), 0);
        lv_obj_set_style_bg_grad_color(buttons_abc[i], lv_color_hex(0xFFFFFF), 0);
        lv_obj_set_style_bg_grad_dir(buttons_abc[i], LV_GRAD_DIR_VER, 0);
        lv_obj_add_flag(buttons_abc[i], LV_OBJ_FLAG_EVENT_BUBBLE);
    }

    lv_obj_add_event_cb(cont, button_cb, LV_EVENT_CLICKED, NULL);
}

void setup_cont_buttons2(lv_obj_t *parent){
    int index = 0;
    static lv_coord_t col_dsc[] = {LV_GRID_FR(1), LV_GRID_FR(1), LV_GRID_FR(1), LV_GRID_FR(1), LV_GRID_TEMPLATE_LAST};
    static lv_coord_t row_dsc[] = {LV_GRID_FR(1), LV_GRID_FR(1), LV_GRID_FR(1), LV_GRID_FR(1), LV_GRID_TEMPLATE_LAST};

    lv_obj_t *cont = lv_obj_create(parent);
    lv_obj_set_size(cont, LV_PCT(100), LV_PCT(100));
    lv_obj_set_grid_dsc_array(cont, col_dsc, row_dsc);
    lv_obj_set_layout(cont, LV_LAYOUT_GRID);
    lv_obj_set_style_bg_opa(parent, LV_OPA_TRANSP, 0);
    lv_obj_set_style_bg_opa(cont, LV_OPA_TRANSP, 0);
    lv_obj_set_style_pad_all(cont, 1, 1);
    lv_obj_center(cont);

    lv_obj_set_style_pad_all(parent, 0, 0);

    for (int row = 0; row < 4; row++) {
        for (int col = 0; col < 4; col++) {
            buttons[index] = lv_btn_create(cont);
            lv_obj_set_grid_cell(buttons[index], LV_GRID_ALIGN_STRETCH, col, 1, LV_GRID_ALIGN_STRETCH, row, 1);
            lv_obj_set_style_bg_color(buttons[index], lv_color_hex(0xFFFFFF), 0);
            lv_obj_set_style_bg_grad_color(buttons[index], lv_color_hex(0xFFFFFF), 0);
            lv_obj_set_style_bg_grad_dir(buttons[index], LV_GRAD_DIR_VER, 0);
            lv_obj_add_flag(buttons[index], LV_OBJ_FLAG_EVENT_BUBBLE);
            index++;
        }
    }
    lv_obj_add_event_cb(cont, button_cb, LV_EVENT_CLICKED, NULL);
}

void setup_cont_switches(lv_obj_t *parent){
    static lv_coord_t col_dsc[] = {LV_GRID_FR(1), LV_GRID_FR(1), LV_GRID_FR(1), LV_GRID_FR(1), LV_GRID_FR(1), LV_GRID_TEMPLATE_LAST};
    static lv_coord_t row_dsc[] = {LV_GRID_FR(1), LV_GRID_TEMPLATE_LAST};
    lv_obj_t *cont = lv_obj_create(parent);
    lv_obj_set_size(cont, LV_PCT(100), LV_PCT(100));
    lv_obj_set_grid_dsc_array(cont, col_dsc, row_dsc);
    lv_obj_set_layout(cont, LV_LAYOUT_GRID);
    lv_obj_set_style_bg_opa(parent, LV_OPA_TRANSP, 0);
    lv_obj_set_style_bg_opa(cont, LV_OPA_TRANSP, 0);
    lv_obj_center(cont);

    lv_obj_set_style_pad_all(parent, 0, 0);

    for(int i = 0; i < 5; i++){
        switches[i] = lv_btn_create(cont);
        lv_obj_set_grid_cell(switches[i], LV_GRID_ALIGN_STRETCH, i, 1, LV_GRID_ALIGN_STRETCH, 0, 1);
        lv_obj_set_style_bg_color(switches[i], lv_color_hex(0xFFFFFF), 0);
        lv_obj_set_style_bg_grad_color(switches[i], lv_color_hex(0xFFFFFF), 0);
        lv_obj_set_style_bg_grad_dir(switches[i], LV_GRAD_DIR_VER, 0);
        lv_obj_add_flag(switches[i], LV_OBJ_FLAG_EVENT_BUBBLE);
    }

    lv_obj_add_event_cb(cont, button_cb, LV_EVENT_CLICKED, NULL);
}

void setup_led_array(lv_obj_t *parent){
    int index = 0;
    //191/16
    double led_size = 11.6;

    lv_obj_t *cont = lv_obj_create(parent);
    lv_obj_set_size(cont, LV_PCT(100), LV_PCT(100));
    lv_obj_set_style_pad_all(parent, 0, 0);
    lv_obj_set_style_pad_all(cont, 0, 0);
    lv_obj_center(cont);

    for (int row = 0; row < 16; row++) {
        for (int col = 15; col >= 0; col--) {
            leds[index] = lv_obj_create(cont);
            lv_obj_set_size(leds[index], led_size, led_size);
            lv_obj_set_pos(leds[index], col * led_size, row * led_size);
            lv_obj_set_style_bg_color(leds[index], lv_color_hex(0x000000), 0);
            index++;
        }
    }
}

void setup_led_circle(lv_obj_t * parent) {
    int center_x = 525 / 2;
    int center_y = 525 / 2;
    int radius = 500 / 2;

    lv_obj_t *cont = lv_obj_create(parent);
    lv_obj_set_size(cont, LV_PCT(100), LV_PCT(100));
    lv_obj_center(cont);
    lv_obj_set_style_pad_all(parent, 0, 0);
    lv_obj_set_style_pad_all(cont, 0, 0);
    lv_obj_set_style_bg_opa(cont, LV_OPA_TRANSP, 0);

    for (int i = 0; i < 64; i++) {
        float angle = 2 * 3.14 * i / 64 - (3.14 / 2);
        int x = center_x + radius * cos(angle);
        int y = center_y + radius * sin(angle);

        leds_circle[i] = lv_obj_create(cont);
        lv_obj_set_size(leds_circle[i], 9, 9);
        lv_obj_set_pos(leds_circle[i], x - 10, y - 10);
        lv_obj_set_style_bg_color(leds_circle[i], lv_color_hex(0x000000), 0);
    }
}

void setup_ui(lv_obj_t *parent) {
    static lv_coord_t col_dsc[] = {LV_GRID_FR(1), LV_GRID_FR(1), LV_GRID_FR(1), LV_GRID_FR(1),
    LV_GRID_FR(1), LV_GRID_FR(1), LV_GRID_FR(1), LV_GRID_FR(1), LV_GRID_FR(1), LV_GRID_FR(1),
    LV_GRID_FR(1), LV_GRID_FR(1), LV_GRID_FR(1), LV_GRID_FR(1), LV_GRID_TEMPLATE_LAST};
    static lv_coord_t row_dsc[] = {LV_GRID_FR(1), LV_GRID_FR(1), LV_GRID_FR(1), LV_GRID_FR(1),
    LV_GRID_FR(1), LV_GRID_FR(1), LV_GRID_FR(1), LV_GRID_FR(1), LV_GRID_FR(1), LV_GRID_FR(1),
    LV_GRID_FR(1), LV_GRID_FR(1), LV_GRID_FR(1), LV_GRID_FR(1), LV_GRID_TEMPLATE_LAST};

    // Create a main container with a green background
    lv_obj_t *cont_led_circle = lv_obj_create(parent);
    lv_obj_set_size(cont_led_circle, MAIN_WIDTH, MAIN_HEIGHT);
    lv_obj_align(cont_led_circle, LV_ALIGN_CENTER, 0, 0);
    lv_obj_set_style_bg_color(cont_led_circle, lv_color_hex(0x34664B), 0);
    lv_obj_set_style_border_width(cont_led_circle, 0, 0);

    lv_obj_t *cont_main = lv_obj_create(parent);
    lv_obj_set_size(cont_main, MAIN_WIDTH - 10, MAIN_HEIGHT - 10);
    lv_obj_align(parent, LV_ALIGN_CENTER, 0, 0);
    lv_obj_set_style_bg_opa(cont_main, LV_OPA_TRANSP, 0);
    
    lv_obj_set_grid_dsc_array(cont_main, col_dsc, row_dsc);
    lv_obj_set_layout(cont_main, LV_LAYOUT_GRID);

    // Create containers and place them in the grid
    lv_obj_t *cont_switches = lv_obj_create(cont_main);
    lv_obj_set_grid_cell(cont_switches, LV_GRID_ALIGN_STRETCH, 5, 6, LV_GRID_ALIGN_STRETCH, 1, 2);
    lv_obj_set_style_bg_color(cont_switches, lv_color_hex(0x808080), 0);

    lv_obj_t *cont_butons_abc = lv_obj_create(cont_main);
    lv_obj_set_grid_cell(cont_butons_abc, LV_GRID_ALIGN_STRETCH, 1, 4, LV_GRID_ALIGN_STRETCH, 3, 2);
    lv_obj_set_style_bg_color(cont_butons_abc, lv_color_hex(0xFFFFFF), 0);

    lv_obj_t *cont_buttons2 = lv_obj_create(cont_main);
    lv_obj_set_grid_cell(cont_buttons2, LV_GRID_ALIGN_STRETCH, 1, 6, LV_GRID_ALIGN_STRETCH, 5, 6);
    lv_obj_set_style_bg_color(cont_buttons2, lv_color_hex(0x808080), 0);

    lv_obj_t *cont_buttons3 = lv_obj_create(cont_main);
    lv_obj_set_grid_cell(cont_buttons3, LV_GRID_ALIGN_STRETCH, 11, 2, LV_GRID_ALIGN_STRETCH, 3, 2);
    lv_obj_set_style_bg_color(cont_buttons3, lv_color_hex(0xFFFFFF), 0);

    lv_obj_t *cont_label = lv_obj_create(cont_main);
    lv_obj_set_grid_cell(cont_label, LV_GRID_ALIGN_STRETCH, 5, 6, LV_GRID_ALIGN_STRETCH, 3, 2);
    lv_obj_set_style_bg_color(cont_label, lv_color_hex(0xFFFF00), 0);

    lv_obj_t *cont_led_matrix = lv_obj_create(cont_main);
    lv_obj_set_grid_cell(cont_led_matrix, LV_GRID_ALIGN_STRETCH, 7, 6, LV_GRID_ALIGN_STRETCH, 5, 6);
    lv_obj_set_style_bg_color(cont_led_matrix, lv_color_hex(0xFF0000), 0);

    lv_obj_t *cont_label2 = lv_obj_create(cont_main);
    lv_obj_set_grid_cell(cont_label2, LV_GRID_ALIGN_STRETCH, 4, 4, LV_GRID_ALIGN_STRETCH, 11, 2);
    lv_obj_set_style_bg_color(cont_label2, lv_color_hex(0xFF0000), 0);

    //Fill in the containers
    setup_cont_butons_abc(cont_butons_abc);
    setup_cont_buttons2(cont_buttons2);
    setup_cont_switches(cont_switches);
    setup_led_array(cont_led_matrix);
    setup_led_circle(cont_led_circle);

    button_start = lv_btn_create(cont_buttons3);

    lcd_display_label = lv_label_create(cont_label);
	lv_label_set_text(lcd_display_label, "Hello world\n");

    segmented_display_label = lv_label_create(cont_label2);
	lv_label_set_text(segmented_display_label, "1 2 3 4\n");

    //start button layout
    lv_obj_set_style_bg_opa(cont_buttons3, LV_OPA_TRANSP, 0);
    lv_obj_set_style_pad_all(cont_buttons3, 1, 1);
    lv_obj_set_size(button_start, LV_PCT(100), LV_PCT(100));
    lv_obj_center(button_start);
    lv_obj_set_style_bg_color(button_start, lv_color_hex(0xFFFFFF), 0);
    lv_obj_set_style_bg_grad_color(button_start, lv_color_hex(0xFFFFFF), 0);
    lv_obj_set_style_bg_grad_dir(button_start, LV_GRAD_DIR_VER, 0);

    lv_obj_add_flag(button_start, LV_OBJ_FLAG_EVENT_BUBBLE);
    lv_obj_add_event_cb(cont_buttons3, button_cb, LV_EVENT_CLICKED, NULL);
}
```
